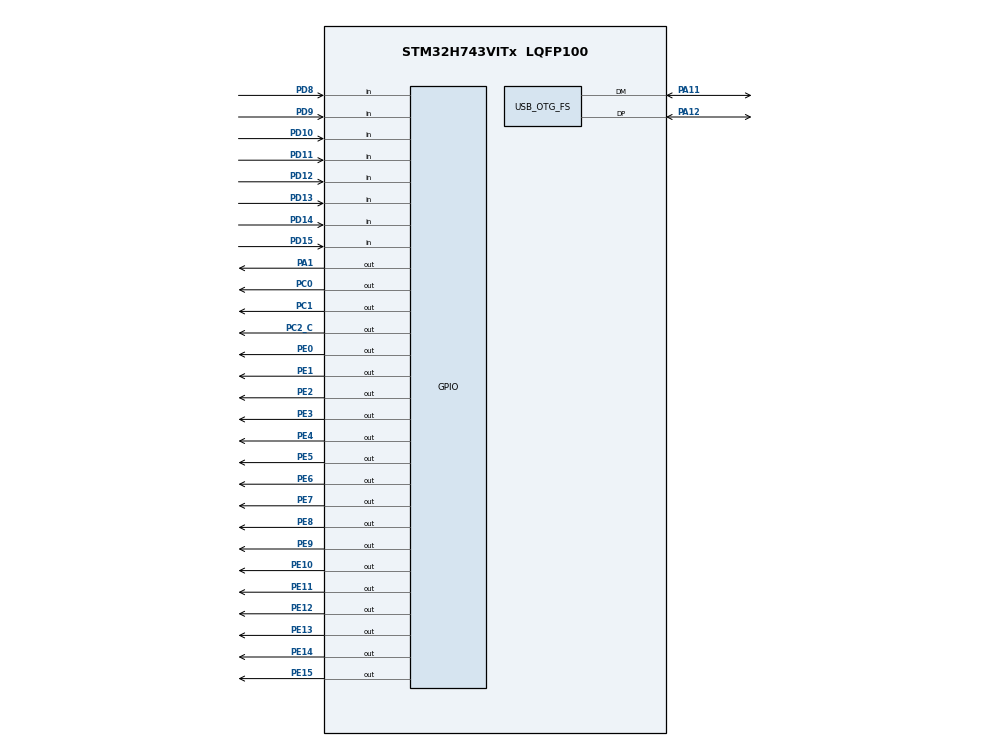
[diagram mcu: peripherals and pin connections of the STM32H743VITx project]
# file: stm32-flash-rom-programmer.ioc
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CORTEX_M7.CPU_DCache=Enabled
CORTEX_M7.CPU_ICache=Enabled
Mcu.Family=STM32H7
Mcu.Name=STM32H743VITx
Mcu.Package=LQFP100
NVIC.OTG_FS_IRQn=true\:0\:0\:false\:false\:true\:false\:true
NVIC.PriorityGroup=NVIC_PRIORITYGROUP_4
PA1.Signal=GPIO_Output
PA11.Mode=Device_Only
PA11.Signal=USB_OTG_FS_DM
PA12.Mode=Device_Only
PA12.Signal=USB_OTG_FS_DP
PC0.Signal=GPIO_Output
PC1.Signal=GPIO_Output
PC2_C.Signal=GPIO_Output
PD10.Signal=GPIO_Input
PD11.Signal=GPIO_Input
PD12.Signal=GPIO_Input
PD13.Signal=GPIO_Input
PD14.Signal=GPIO_Input
PD15.Signal=GPIO_Input
PD8.Signal=GPIO_Input
PD9.Signal=GPIO_Input
PE0.Signal=GPIO_Output
PE1.Signal=GPIO_Output
PE10.Signal=GPIO_Output
PE11.Signal=GPIO_Output
PE12.Signal=GPIO_Output
PE13.Signal=GPIO_Output
PE14.Signal=GPIO_Output
PE15.Signal=GPIO_Output
PE2.Signal=GPIO_Output
PE3.Signal=GPIO_Output
PE4.Signal=GPIO_Output
PE5.Signal=GPIO_Output
PE6.Signal=GPIO_Output
PE7.Signal=GPIO_Output
PE8.Signal=GPIO_Output
PE9.Signal=GPIO_Output
PH0-OSC_IN\ (PH0).Mode=HSE-External-Oscillator
PH0-OSC_IN\ (PH0).Signal=RCC_OSC_IN
PH1-OSC_OUT\ (PH1).Mode=HSE-External-Oscillator
PH1-OSC_OUT\ (PH1).Signal=RCC_OSC_OUT
ProjectManager.HeapSize=0x200
ProjectManager.StackSize=0x400
ProjectManager.TargetToolchain=Makefile
RCC.ADCFreq_Value=50390625
RCC.APB1Freq_Value=100000000
RCC.APB2Freq_Value=100000000
RCC.APB3Freq_Value=100000000
RCC.APB4Freq_Value=100000000
RCC.CortexFreq_Value=400000000
RCC.D1PPRE=RCC_APB3_DIV2
RCC.D2PPRE1=RCC_APB1_DIV2
RCC.D2PPRE2=RCC_APB2_DIV2
RCC.D3PPRE=RCC_APB4_DIV2
RCC.DIVM1=5
RCC.DIVM3=25
RCC.DIVN1=160
RCC.DIVN3=192
RCC.DIVQ3=4
RCC.FLatency=FLASH_LATENCY_4
RCC.HCLKFreq_Value=200000000
RCC.HPRE=RCC_HCLK_DIV2
RCC.PLL2FRACN=0
RCC.PLL3FRACN=0
RCC.PLLFRACN=0
RCC.PLLSourceVirtual=RCC_PLLSOURCE_HSE
RCC.SYSCLKFreq_VALUE=400000000
RCC.SYSCLKSource=RCC_SYSCLKSOURCE_PLLCLK
RCC.USBCLockSelection=RCC_USBCLKSOURCE_PLL3
RCC.USBFreq_Value=48000000
USB_DEVICE.CLASS_NAME_FS=CDC
USB_DEVICE.VirtualMode-CDC_FS=Cdc
USB_DEVICE.VirtualModeFS=Cdc_FS
USB_OTG_FS.VirtualMode=Device_Only
VP_USB_DEVICE_VS_USB_DEVICE_CDC_FS.Mode=CDC_FS
board=custom

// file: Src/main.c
/* USER CODE BEGIN Header */
/**
  ******************************************************************************
  * @file           : main.c
  * @brief          : Main program body
  ******************************************************************************
  * @attention
  *
  * <h2><center>&copy; Copyright (c) 2021 STMicroelectronics.
  * All rights reserved.</center></h2>
  *
  * This software component is licensed by ST under BSD 3-Clause license,
  * the "License"; You may not use this file except in compliance with the
  * License. You may obtain a copy of the License at:
  *                        opensource.org/licenses/BSD-3-Clause
  *
  ******************************************************************************
  */
/* USER CODE END Header */

#include "main.h"
#include "usb_device.h"

/* USER CODE BEGIN Includes */
#include "usbd_cdc_if.h"
#include "md5stuff.h"

/* USER CODE END Includes */

/* USER CODE BEGIN PD */
#define VERSIONSTRING "AM29F040 READWRITE (based on MEEPROMMER), CMD:a,w,r,i,e,m,v, version 0.10"

#define MAX_STRING_BUFFER_LENGTH 160

#define SPECIAL_FLASH_ROM_ADDRESS_1 0x5555
#define SPECIAL_FLASH_ROM_ADDRESS_2 0x2aaa

#define NOCOMMAND    0
#define VERSION      1
#define SET_ADDRESS  2
#define CLEAR_RAM    3

#define READ_HEX    10
#define READ_BIN    11
#define READ_ITL    12

#define WRITE_HEX   20

#define WRITE_BIN   21
#define WRITE_ITL   22
#define WRITE_XMODEM 23

#define FLASH_IDENTIFY 30
#define FLASH_ERASE 31

#define MD5SUM 40

#define BLANK_CHECK 45

#define HELP 50
#define GPIO_HELP 51

#define POSITION_SOH  0
#define POSITION_PACKET 1
#define POSITION_PACKETSLEFT 2
#define POSITION_PAYLOAD 3
#define POSITION_CRC 131
#define POSITION_CRC2 132

#define EOT 0x04

/* USER CODE END PD */

/* USER CODE BEGIN PV */
uint32_t startAddress, endAddress;
uint32_t lineLength, dataLength;
int loop_cmd = 0; // set to >0 for prompt for command mode
int position; // ptr in xmodem packet
int xmodem_prestart;
int available;
int bytes;  // Make sure this is not defined in 'loop'!
uint8_t crchigh,crclow;
uint32_t total;
uint32_t flashaddress;
uint32_t address_toggle;
uint8_t page_buffer[128];

//a buffer for bytes to burn
#define BUFFERSIZE 133
uint8_t buffer[BUFFERSIZE];
//command buffer for parsing commands
#define COMMANDSIZE 32
char cmdbuf[COMMANDSIZE];

/* USER CODE END PV */

void SystemClock_Config(void);
static void MX_GPIO_Init(void);

/* USER CODE BEGIN 0 */

void delay_us(const uint32_t us)
{
   uint32_t i = us * 60;
   while (i-- > 0) {
      __asm volatile ("nop");
   }
}

void printSerialUSB(char *s) {
	uint32_t i,j;
	uint8_t buffer[MAX_STRING_BUFFER_LENGTH];

	j=0;
	for (i=0;i<MAX_STRING_BUFFER_LENGTH;i++) {
		buffer[i]= (uint8_t) s[j];
		if (buffer[i]==0) {
			break;
		}
		j++;
	}

	usb_write( buffer,i);
}

void printLineSerialUSB(char *s) {
	char buffer[MAX_STRING_BUFFER_LENGTH];
	sprintf(buffer,"%s\r\n",s);
	printSerialUSB(buffer);
}

void printPrompt() {
	printSerialUSB("\r\n> ");
}

void printHelp() {
  printLineSerialUSB("\r\nFlash ROM tool (MX29F1615 version)");
  printLineSerialUSB("=====================================");
  printLineSerialUSB("  r nnnnn mmmmm - show mmmmm bytes at address nnnnn");
  printLineSerialUSB("  w nnnnn - write to flash using xmodem transfer");
  printLineSerialUSB("  e - erase flash rom");
  printLineSerialUSB("  g - show how to connect the GPIO pins to the flash ROM");
  printLineSerialUSB("  i - identify flash rom");
  printLineSerialUSB("  m nnnnn mmmmm - md5sum rom content starting at nnnnn for mmmmm bytes long");
  printLineSerialUSB("  b nnnnn mmmmm - Blank check for FFFFs starting at nnnnn for mmmmm bytes long");
  printLineSerialUSB("  v - version info");
  printLineSerialUSB("  ? - show this help screen");
  printSerialUSB("\r\n");
}

void printGPIOHelp() {
  printSerialUSB("\r\nGPIO Map\r\n");
  printSerialUSB("==============\r\n");
  printSerialUSB("PD0 - PD15    ->   Q0 - Q15\r\n");
  printSerialUSB("PE0 - PE15    ->   A0 - A15\r\n");
  printSerialUSB("PA2 - PA5    ->   A16 - A19\r\n");
  printSerialUSB("PC0    ->   _CE\r\n");
  printSerialUSB("PC1    ->   _OE\r\n");
  printSerialUSB("\r\n");
}

// addr is word address, not a byte address
void writeToFlashROM(uint32_t addr, uint16_t data) {
	uint32_t upper_addr;
	uint32_t t;

	upper_addr = (addr & 0x000f0000) >>16;

	GPIOE->ODR = (addr & 0x0000ffff);
	// add the upper address bits to PA2, PA3, PA4, PA5
	t = GPIOA->IDR;
	GPIOA->ODR = (t & 0xffffffc3) | (upper_addr << 2);
	GPIOD->MODER = 0x55555555;	// port D to outputs

	GPIOD->ODR = data ;

	GPIOC->ODR &= 0xfffffffe;	// PC0 (_CE) low
	delay_us(2);

	GPIOC->ODR |= 0x00000007;	// PC0 (_CE) high

}

// addr is word address, not a byte address
uint16_t readFromFlashROM(uint32_t addr) {
	uint32_t upper_addr;
	uint32_t t;
	uint16_t d;

	upper_addr = (addr & 0x000f0000) >>16;

	GPIOE->ODR = (addr & 0x0000ffff);
	// add the upper address bits to PA2, PA3, PA4
	t = GPIOA->IDR;
	GPIOA->ODR = (t & 0xffffffc3) | (upper_addr << 2);
	GPIOD->MODER = 0x0;	// port D to inputs

	GPIOC->ODR &= 0xfffffffc;	// PC0 (_CE) and PC1 (_OE) low
	delay_us(2);

	d = GPIOD->IDR ;

	GPIOC->ODR |= 0x00000007;	// PC0 (_CE) and PC1 (_OE) high

	return d;

}

uint8_t write_next_word( uint16_t data) {
   int i;
   uint16_t tmp;

   writeToFlashROM(SPECIAL_FLASH_ROM_ADDRESS_1,0x00aa);
   writeToFlashROM(SPECIAL_FLASH_ROM_ADDRESS_2,0x0055);
   writeToFlashROM(SPECIAL_FLASH_ROM_ADDRESS_1,0x00a0);

   // write the word
   writeToFlashROM(flashaddress,data);

   // wait for DQ7 to be set correctly
   for (i=0;i<100;i++) {
      tmp = readFromFlashROM(flashaddress>>1);
      if (tmp & 0x0080)
         break;
   }

   flashaddress+=2;

   return 0; // TODO . return an error if it failed
}

uint8_t write_next_page( uint8_t *buf) {
   int i;
   uint16_t tmp;

   writeToFlashROM(SPECIAL_FLASH_ROM_ADDRESS_1,0x00aa);
   writeToFlashROM(SPECIAL_FLASH_ROM_ADDRESS_2,0x0055);
   writeToFlashROM(SPECIAL_FLASH_ROM_ADDRESS_1,0x00a0);

   // write 64 words
   for (i=0;i<64;i++) {
	// TODO this should probably be the other way around
	// Put the lower address byte in D15 to D8 and the higher address byte in D7 to D0. This means we should not have to byte swap
	tmp = ( (uint16_t) (buf[i*2]<<8) + (uint16_t) (buf[i*2+1]) );
   	writeToFlashROM(flashaddress>>1,tmp);
	flashaddress+=2;
   }
   // pray and hope since we cannot set _BYTE_VPP back to +5V
   delay_us(4000);

   return 0; // TODO . return an error if it failed
}

// Since we only write 16 bytes at a time, write_next_byte will save a byte then write a word  depending on whether flashaddress is even or odd.
// This also means you can't really  have an uneven number of bytes to write.
//
// We should be writing 64 x 16bit words at a time. That is conveniently the 128 bytes of one block of the xmodem transfer
// So basically accumulate 64 words then write those all at once
uint8_t write_next_byte( uint8_t data) {
	if ((address_toggle & 0x0007f) != 0x0007f) {
		page_buffer[address_toggle & 0x0007f] = data;
		address_toggle++;
		return 0;
	} else {
		page_buffer[address_toggle & 0x0007f] = data;
		address_toggle++;
		return write_next_page(page_buffer);
	}
}

void specialFlashROMReset() {
	writeToFlashROM(SPECIAL_FLASH_ROM_ADDRESS_1,0x00aa);
	writeToFlashROM(SPECIAL_FLASH_ROM_ADDRESS_2,0x0055);
	writeToFlashROM(SPECIAL_FLASH_ROM_ADDRESS_1,0x00f0);
}

void identifyChip() {

	uint8_t manufacturer_code, device_code;

	char buf[80];

	printLineSerialUSB("Identify Flash ROM");
	// reset first
	specialFlashROMReset();

	writeToFlashROM(SPECIAL_FLASH_ROM_ADDRESS_1,0x00aa);
	writeToFlashROM(SPECIAL_FLASH_ROM_ADDRESS_2,0x0055);
	writeToFlashROM(SPECIAL_FLASH_ROM_ADDRESS_1,0x0090);

	manufacturer_code = (uint8_t) readFromFlashROM(0x0000);
	delay_us(2);
	device_code = (uint8_t) readFromFlashROM(0x0001);

	sprintf(buf,"Manufacturer: %02x , Device: %02x\r\n",manufacturer_code,device_code);
	printSerialUSB(buf);

	delay_us(1000);

	// reset again
	specialFlashROMReset();

}

void eraseChip() {
	uint32_t i;
	uint16_t d;

	//uint8_t buf[80];

	printSerialUSB("About to erase MX29F1615. Make sure you have 10V connected to _BYTE/VPP. I will give you 5 seconds\r\n");

	for (i=0;i<5;i++) {
		printSerialUSB(".");
		LL_mDelay(1000);
	}

	printSerialUSB("\r\nerasing chip\r\n");
	// reset first
	specialFlashROMReset();

	writeToFlashROM(SPECIAL_FLASH_ROM_ADDRESS_1,0x00aa);
	writeToFlashROM(SPECIAL_FLASH_ROM_ADDRESS_2,0x0055);
	writeToFlashROM(SPECIAL_FLASH_ROM_ADDRESS_1,0x0080);
	writeToFlashROM(SPECIAL_FLASH_ROM_ADDRESS_1,0x00aa);
	writeToFlashROM(SPECIAL_FLASH_ROM_ADDRESS_2,0x0055);
	writeToFlashROM(SPECIAL_FLASH_ROM_ADDRESS_1,0x0010);

	for (i=0;i<250;i++) {
		d = readFromFlashROM(0x0000);
		if (d & 0x0080) {
			printSerialUSB(" Erase Complete\r\n");
			break;
		}
		LL_mDelay(500);
	}

	// reset again
	specialFlashROMReset();
	printSerialUSB("\r\nNow do the following\r\n");
	printSerialUSB("- Wait a few minutes\r\n");
        printSerialUSB("- Disconnect the +10V from _BYTE/VPP\r\n");
	printSerialUSB("- Reconnect _BYTE/VPP to +5V\r\n");
	printSerialUSB("- Power cycle the MX29F1615 in order to read it\r\n");
	printSerialUSB("- Once you have power cycled, use the b command to check if its actually blank\r\n");

}

// from and to are byte addresses, not word addresses
void read_block(uint32_t from, uint32_t to, int linelength) {
	uint32_t addr;
	uint32_t i;
	uint16_t d;

	char buf[80];

	addr = from;

	while (addr < to ) {
		sprintf((char *)buf,"%05x  ",(unsigned int) (addr));
		printSerialUSB(buf);
		// show 8 words (ie. 16 bytes)
		for (i=0; i<8;i++) {
			d = readFromFlashROM((addr>>1)+i);
			sprintf(buf,"%04x ",d);
			printSerialUSB(buf);
		}
		printSerialUSB("\r\n");
		addr+=16;
	}

}

uint8_t hexDigit(uint8_t c) {
  if (c >= '0' && c <= '9') {
    return c - '0';
  }
  else if (c >= 'a' && c <= 'f') {
    return c - 'a' + 10;
  }
  else if (c >= 'A' && c <= 'F') {
    return c - 'A' + 10;
  }
  else {
    return 0;
  }
}

// 5 digit hex number
uint32_t hexConvert(char* data) {
  int i = 0;
  uint32_t a,b;

  if (data[0]==0) {
     return 0;
  }
  b=0;
  while ( ((data[i]>='0') && (data[i]<='9')) || ((data[i]>='a') && (data[i]<='f')) || ((data[i]>='A') && (data[i]<='F')) ) {
    a = hexDigit(data[i++]);
    b = (b<<4) + a;
  }
  return b;
}
// 5 digit hex number
uint32_t hexFiveWord(char* data) {
  if (data[0]==0) {
     return 0;
  }
  return ((hexDigit(data[0])*65536L) +
          (hexDigit(data[1]) * 4096L) +
          (hexDigit(data[2]) * 256L) +
          (hexDigit(data[3]) * 16L) +
          (hexDigit(data[4])));
}

uint8_t hexByte(char* a)
{
  return ((hexDigit(a[0]) * 16) + hexDigit(a[1]));
}

uint16_t calccrc(uint8_t *ptr, int count)
{
    uint16_t  crc;
    int i;

    crc = 0;

    while (--count >= 0)
    {
        crc = crc ^ (uint16_t) (*ptr++ << 8);
        i = 8;
        do
        {
            if (crc & 0x8000)
                crc = crc << 1 ^ 0x1021;
            else
                crc = crc << 1;
        } while(--i);
    }
    return (crc);
}

void read_md5(uint32_t startAddress, uint32_t dataLength) {
	uint32_t  bytesleft;
	int bytestoprocess;
	int i;
	char md5buffer[64];
	char md5str[33];
	MD5_CTX context;
	unsigned char digest[16];
	char buf[80];
	uint16_t t;

	flashaddress=startAddress;

	md5str[0] = '\0';
	MD5Init(&context);

	sprintf(buf,"About to md5 from %05x to %05x\r\n",(unsigned int) startAddress,(unsigned int) (startAddress + dataLength - 1));
	printSerialUSB(buf);

	while (flashaddress < (startAddress + dataLength) ) {
	   // Work out how many bytes are left
	   bytesleft = ((startAddress + dataLength) - flashaddress);
	   bytestoprocess=64;
	   if (bytesleft < 64) {
	      bytestoprocess = bytesleft;
	   }
	   // TODO  this is unlikely to work well unless the file is even in length
	   for (i=0;i<bytestoprocess;i+=2) {
	      //md5buffer[i] = (char) read_next_byte();
	      t = readFromFlashROM((flashaddress>>1));
	      // TODO these might need to be swapped around
	      //md5buffer[i] = (char) (t &0xff);
	      //md5buffer[i+1] = (char) ((t &0xff00) >>8);
	      md5buffer[i] = (char) ((t &0xff00) >>8);
	      md5buffer[i+1] = (char) (t &0xff);
	      flashaddress+=2;
	   }
	   MD5Update(&context, md5buffer, bytestoprocess);
	   // No need to bump up flash address as read_next_byte does it.
	}

	MD5Final(digest, &context);

	make_digest(md5str, digest, 16);
	printLineSerialUSB(md5str);
	printSerialUSB("\r\n");

}

void blank_check(uint32_t startAddress, uint32_t dataLength) {
	char buf[80];
	uint16_t t;
	int max_failures=16;
	int failures=0;

	flashaddress=startAddress;

	sprintf(buf,"About to check for FFFFs from %05x to %05x\r\n",(unsigned int) startAddress,(unsigned int) (startAddress + dataLength - 1));
	printSerialUSB(buf);

	while (flashaddress < (startAddress + dataLength) ) {
	   t = readFromFlashROM((flashaddress>>1));
	   if (t != 0xffff) {
		failures++;
		sprintf((char *)buf,"FAIL %05x  = %04x\r\n",(unsigned int) (flashaddress), t);
		printSerialUSB(buf);
		if (failures>max_failures) {
			sprintf(buf,"Excessive failures. Aborting. You need to investigate\r\n");
			printSerialUSB(buf);
			break;
		}
	   }
	   flashaddress+=2;
	}
	if (failures==0) {
		sprintf(buf,"All Blank. Good\r\n");
	} else {
		sprintf(buf,"Some failures. Investigate\r\n");
	}
	printSerialUSB(buf);

}

uint8_t parseCommand() {
  char param[3][16];
  int i,x,y;
  char buf[128];

  char command;

  param[0][0]=0;
  param[1][0]=0;
  param[2][0]=0;

  for (i=0;cmdbuf[i]==' ';i++);
  command = cmdbuf[i++];
  x=0;
  y=0;
  while (cmdbuf[i]) {
    for (;cmdbuf[i]==' ';i++);
    y=0;
    while (cmdbuf[i]>' ') {
      param[x][y++]=cmdbuf[i++];
      param[x][y]=0;
    }
    if (y>0)
      x++;
  }

  startAddress = hexConvert(param[0]);
  dataLength = hexConvert(param[1]);
  lineLength = hexConvert(param[2]);

  //sprintf(buf,"numbers 0x%08lx 0x%08lx 0x%08lx\r\n",startAddress,dataLength, lineLength);
  printSerialUSB(buf);

  uint8_t retval = 0;
  switch (command) {
    case 'a':
      retval = SET_ADDRESS;
      break;
    case 'c':
      retval = CLEAR_RAM;
      break;
    case 'r':
      retval = READ_HEX;
      break;
    case 'w':
      retval = WRITE_XMODEM;
      break;
    case 't':  // write TWO bytes t xxxxx 0aabb
      retval = WRITE_HEX;
      break;
    case 'v':
      retval = VERSION;
      break;
    case '?':
      retval = HELP;
      break;
    case 'g':
      retval = GPIO_HELP;
      break;
    case 'i':
      retval = FLASH_IDENTIFY;
      break;
    case 'e':
      retval = FLASH_ERASE;
      break;
    case 'm':
      retval = MD5SUM;
      break;
    case 'b':
      retval = BLANK_CHECK;
      break;
    default:
      retval = NOCOMMAND;
      break;
  }
  return retval;
}

uint8_t oldParseCommand() {
  //set ',' to '\0' terminator (command string has a fixed strucure)
  //first string is the command character
  cmdbuf[1]  = 0;
  //second string is startaddress (5 bytes)
  cmdbuf[7]  = 0;
  //third string is a data length (orig file said endaddress (5 bytes))
  cmdbuf[13] = 0;
  //fourth string is length (2 bytes)
  cmdbuf[16] = 0;
  startAddress = hexFiveWord((cmdbuf + 2));
  dataLength = hexFiveWord((cmdbuf + 8));
  lineLength = hexByte(cmdbuf + 14);
  uint8_t retval = 0;
  switch (cmdbuf[0]) {
    case 'a':
      retval = SET_ADDRESS;
      break;
    case 'c':
      retval = CLEAR_RAM;
      break;
    case 'r':
      retval = READ_HEX;
      break;
    case 'w':
      retval = WRITE_XMODEM;
      break;
    case 't':  // write TWO bytes t xxxxx 0aabb
      retval = WRITE_HEX;
      break;
    case 'v':
      retval = VERSION;
      break;
    case '?':
      retval = HELP;
      break;
    case 'g':
      retval = GPIO_HELP;
      break;
    case 'i':
      retval = FLASH_IDENTIFY;
      break;
    case 'e':
      retval = FLASH_ERASE;
      break;
    case 'm':
      retval = MD5SUM;
      break;
    default:
      retval = NOCOMMAND;
      break;
  }
  return retval;
}

void readCommand() {
  //first clear command buffer
  for (int i = 0; i < COMMANDSIZE; i++) cmdbuf[i] = 0;
  //initialize variables
  char c = ' ';
  int idx = 0;
  //now read serial data until linebreak or buffer is full
  while (1) {
    if (idx >= COMMANDSIZE) {
      cmdbuf[idx - 1] = 0;
      break;
    }
    uint8_t data_rx = usb_check_buffer();

    if (data_rx) {
      c = usb_get_byte();
      if ((c == '\n') || (c == '\r')) {
        cmdbuf[idx] = 0;

        break;
      }
      // check for backspace
      if (c == 0x08) {
        cmdbuf[idx]=0;
        idx--;
        usb_write( (uint8_t *)&c,1); // echo back
      } else {
        usb_write( (uint8_t *)&c,1); // echo back
        cmdbuf[idx++] = c;
      }
    }
  }
}

/* USER CODE END 0 */

int main(void)
{
  /* USER CODE BEGIN 1 */

  //uint8_t key;
  //char buf[160];
  uint8_t xmodem_byte;
  uint32_t crc;
  int i;

  /* USER CODE END 1 */

  /* MCU Configuration--------------------------------------------------------*/

  /* Reset of all peripherals, Initializes the Flash interface and the Systick. */
  HAL_Init();

  /* Configure the system clock */
  SystemClock_Config();

  /* Initialize all configured peripherals */
  MX_GPIO_Init();
  MX_USB_DEVICE_Init();
  /* USER CODE BEGIN 2 */
  LL_mDelay(1000);
  printHelp();

  /* USER CODE END 2 */

  /* Infinite loop */
  while (1)
  {

    /* USER CODE BEGIN 3 */
	//LL_GPIO_TogglePin(GPIOA, LL_GPIO_PIN_1);
	//send_buffer[0] = x++;
	//CDC_Transmit_FS(send_buffer,3);
	//LL_mDelay(1000);

	if (loop_cmd == NOCOMMAND) {
		printSerialUSB("\r% "); // show the prompt
		readCommand();
		printSerialUSB("\r\n"); // only required in ECHO mode
		uint8_t cmd = parseCommand();

		switch (cmd) {
      			case FLASH_IDENTIFY:
				identifyChip();

				break;
			case FLASH_ERASE:
				eraseChip();
				break;

			case READ_HEX:
				specialFlashROMReset(); // read-reset
				//set a default if needed to prevent infinite loop
				if (lineLength == 0) lineLength = 16;
				if (dataLength == 0) {
					dataLength = 0x80;
				}
				endAddress = startAddress + dataLength - 1;
				read_block(startAddress, endAddress, lineLength);
				break;
			case WRITE_XMODEM:
				printSerialUSB("\r\nAbout to start flashing the MX29F1615 with a file you will transfer via xmodem\r\n");
				printSerialUSB("\r\nI am giving you 5 seconds to connect +10V to the _BYTE/VPP pin\r\n");
				for (i=0;i<5;i++) {
					printSerialUSB(".");
					LL_mDelay(1000);
				}
				printLineSerialUSB("\r\nWhen the xmodem transfer is finished, wait a few minutes, then put _BYTE/VPP back to +5V, then power cycle the MX29F1615\r\n");
				printLineSerialUSB("\r\n\r\nPlease start an xmodem transfer in your terminal ...");
				position = 0;
				bytes = 0;
				total=0;
				address_toggle = 0;
				flashaddress=startAddress;
				specialFlashROMReset(); // read-reset
				//set_address_bus(startAddress);
				xmodem_prestart = 1;

				loop_cmd = WRITE_XMODEM;
				break;

			case MD5SUM:
 				//set a default if needed to prevent infinite loop

				if (dataLength == 0) {
					dataLength = 0x80;
				}
				endAddress = startAddress + dataLength - 1;
				printLineSerialUSB("Reading md5");
				read_md5(startAddress, dataLength);
				break;

			case BLANK_CHECK:
 				//set a default if needed to prevent infinite loop

				if (dataLength == 0) {
					dataLength = 0x80;
				}
				endAddress = startAddress + dataLength - 1;
				printLineSerialUSB("Checking for all FFFFs");
				blank_check(startAddress, dataLength);
				break;

			case VERSION:
				printLineSerialUSB(VERSIONSTRING);
				break;
			case HELP:
				printHelp();
				break;
			case GPIO_HELP:
				printGPIOHelp();
				break;
			default:
				break;
		}
	} else if (loop_cmd == WRITE_XMODEM) {
		if (xmodem_prestart) {  // In prestart mode we are just waiting for the sending device to start sending.
			printSerialUSB("C");
			LL_mDelay(1000);
			if (usb_check_buffer()) {
				xmodem_prestart = 0;
			}
		} else {
			//should be a byte read to read.
			while (usb_check_buffer()) {
				xmodem_byte = usb_get_byte();
				switch(position) {
					case POSITION_SOH:
						bytes=0;
						if (xmodem_byte == EOT) {
							printSerialUSB("\x06");  // send ACK
							loop_cmd = NOCOMMAND;
							//Serial.print("Wrote ");
							//Serial.println(total,DEC);
						}
						break;
					case POSITION_CRC:
						crchigh = xmodem_byte;
						break;
					case POSITION_CRC2:
						crc = calccrc(buffer,128);
						if ( (((crc >> 8) &0xff) == crchigh) && ( (crc & 0xff) == xmodem_byte) ) {
							for (int i=0;i<128;i++) {
								//write_next_byte2(buffer[i]);
								write_next_byte(buffer[i]);
								total++;
							}
							printSerialUSB("\x06");  // send ACK
						} else {
							printSerialUSB("\x15"); // CRC failed. Send NAK, and because we never wrote anything to SRAM, the address counter wont have moved
						}
						position = -1;
						break;
					default:
						if ((position >=POSITION_PAYLOAD) && (position <POSITION_CRC)) {
							buffer[bytes++] = xmodem_byte;
						}

						break;

         			}
         			position++;
      			}
		}
	}
  }
  /* USER CODE END 3 */
}

void SystemClock_Config(void)
{
  LL_FLASH_SetLatency(LL_FLASH_LATENCY_5);

  if(LL_FLASH_GetLatency() != LL_FLASH_LATENCY_5)
  {
  Error_Handler();
  }
  LL_PWR_SetRegulVoltageScaling(LL_PWR_REGU_VOLTAGE_SCALE1);
  LL_RCC_HSE_Enable();

   /* Wait till HSE is ready */
  while(LL_RCC_HSE_IsReady() != 1)
  {

  }
  LL_RCC_PLL_ConfigDomain_SYS(LL_RCC_PLLSOURCE_HSE, LL_RCC_PLLM_DIV_8, 336, LL_RCC_PLLP_DIV_2);
  LL_RCC_PLL_ConfigDomain_48M(LL_RCC_PLLSOURCE_HSE, LL_RCC_PLLM_DIV_8, 336, LL_RCC_PLLQ_DIV_7);
  LL_RCC_PLL_Enable();

   /* Wait till PLL is ready */
  while(LL_RCC_PLL_IsReady() != 1)
  {

  }
  LL_RCC_SetAHBPrescaler(LL_RCC_SYSCLK_DIV_1);
  LL_RCC_SetAPB1Prescaler(LL_RCC_APB1_DIV_4);
  LL_RCC_SetAPB2Prescaler(LL_RCC_APB2_DIV_2);
  LL_RCC_SetSysClkSource(LL_RCC_SYS_CLKSOURCE_PLL);

   /* Wait till System clock is ready */
  while(LL_RCC_GetSysClkSource() != LL_RCC_SYS_CLKSOURCE_STATUS_PLL)
  {

  }
  LL_SetSystemCoreClock(168000000);

   /* Update the time base */
  if (HAL_InitTick (TICK_INT_PRIORITY) != HAL_OK)
  {
    Error_Handler();
  };
}

static void MX_GPIO_Init(void)
{
  LL_GPIO_InitTypeDef GPIO_InitStruct = {0};

  /* GPIO Ports Clock Enable */
  LL_AHB1_GRP1_EnableClock(LL_AHB1_GRP1_PERIPH_GPIOE);
  LL_AHB1_GRP1_EnableClock(LL_AHB1_GRP1_PERIPH_GPIOH);
  LL_AHB1_GRP1_EnableClock(LL_AHB1_GRP1_PERIPH_GPIOC);
  LL_AHB1_GRP1_EnableClock(LL_AHB1_GRP1_PERIPH_GPIOA);
  LL_AHB1_GRP1_EnableClock(LL_AHB1_GRP1_PERIPH_GPIOD);

  /**/
  LL_GPIO_ResetOutputPin(GPIOE, LL_GPIO_PIN_2|LL_GPIO_PIN_3|LL_GPIO_PIN_4|LL_GPIO_PIN_5
                          |LL_GPIO_PIN_6|LL_GPIO_PIN_7|LL_GPIO_PIN_8|LL_GPIO_PIN_9
                          |LL_GPIO_PIN_10|LL_GPIO_PIN_11|LL_GPIO_PIN_12|LL_GPIO_PIN_13
                          |LL_GPIO_PIN_14|LL_GPIO_PIN_15|LL_GPIO_PIN_0|LL_GPIO_PIN_1);

  /**/
  LL_GPIO_ResetOutputPin(GPIOA, LL_GPIO_PIN_1|LL_GPIO_PIN_2|LL_GPIO_PIN_3|LL_GPIO_PIN_4);

  /**/
  LL_GPIO_SetOutputPin(GPIOC, LL_GPIO_PIN_0|LL_GPIO_PIN_1|LL_GPIO_PIN_2);

  /**/
  GPIO_InitStruct.Pin = LL_GPIO_PIN_2|LL_GPIO_PIN_3|LL_GPIO_PIN_4|LL_GPIO_PIN_5
                          |LL_GPIO_PIN_6|LL_GPIO_PIN_7|LL_GPIO_PIN_8|LL_GPIO_PIN_9
                          |LL_GPIO_PIN_10|LL_GPIO_PIN_11|LL_GPIO_PIN_12|LL_GPIO_PIN_13
                          |LL_GPIO_PIN_14|LL_GPIO_PIN_15|LL_GPIO_PIN_0|LL_GPIO_PIN_1;
  GPIO_InitStruct.Mode = LL_GPIO_MODE_OUTPUT;
  GPIO_InitStruct.Speed = LL_GPIO_SPEED_FREQ_VERY_HIGH;
  GPIO_InitStruct.OutputType = LL_GPIO_OUTPUT_PUSHPULL;
  GPIO_InitStruct.Pull = LL_GPIO_PULL_NO;
  LL_GPIO_Init(GPIOE, &GPIO_InitStruct);

  /**/
  GPIO_InitStruct.Pin = LL_GPIO_PIN_0|LL_GPIO_PIN_1|LL_GPIO_PIN_2;
  GPIO_InitStruct.Mode = LL_GPIO_MODE_OUTPUT;
  GPIO_InitStruct.Speed = LL_GPIO_SPEED_FREQ_VERY_HIGH;
  GPIO_InitStruct.OutputType = LL_GPIO_OUTPUT_PUSHPULL;
  GPIO_InitStruct.Pull = LL_GPIO_PULL_NO;
  LL_GPIO_Init(GPIOC, &GPIO_InitStruct);

  /**/
  GPIO_InitStruct.Pin = LL_GPIO_PIN_1|LL_GPIO_PIN_2|LL_GPIO_PIN_3|LL_GPIO_PIN_4|LL_GPIO_PIN_5;
  GPIO_InitStruct.Mode = LL_GPIO_MODE_OUTPUT;
  GPIO_InitStruct.Speed = LL_GPIO_SPEED_FREQ_VERY_HIGH;
  GPIO_InitStruct.OutputType = LL_GPIO_OUTPUT_PUSHPULL;
  GPIO_InitStruct.Pull = LL_GPIO_PULL_NO;
  LL_GPIO_Init(GPIOA, &GPIO_InitStruct);

  /**/
  GPIO_InitStruct.Pin = LL_GPIO_PIN_0|LL_GPIO_PIN_1|LL_GPIO_PIN_2|LL_GPIO_PIN_3|LL_GPIO_PIN_4|LL_GPIO_PIN_5|LL_GPIO_PIN_6|LL_GPIO_PIN_7
	  		|LL_GPIO_PIN_8|LL_GPIO_PIN_9|LL_GPIO_PIN_10|LL_GPIO_PIN_11
                          |LL_GPIO_PIN_12|LL_GPIO_PIN_13|LL_GPIO_PIN_14|LL_GPIO_PIN_15;
  GPIO_InitStruct.Mode = LL_GPIO_MODE_INPUT;
  GPIO_InitStruct.Pull = LL_GPIO_PULL_NO;
  LL_GPIO_Init(GPIOD, &GPIO_InitStruct);

}

void Error_Handler(void)
{
}

/************************ (C) COPYRIGHT STMicroelectronics *****END OF FILE****/
